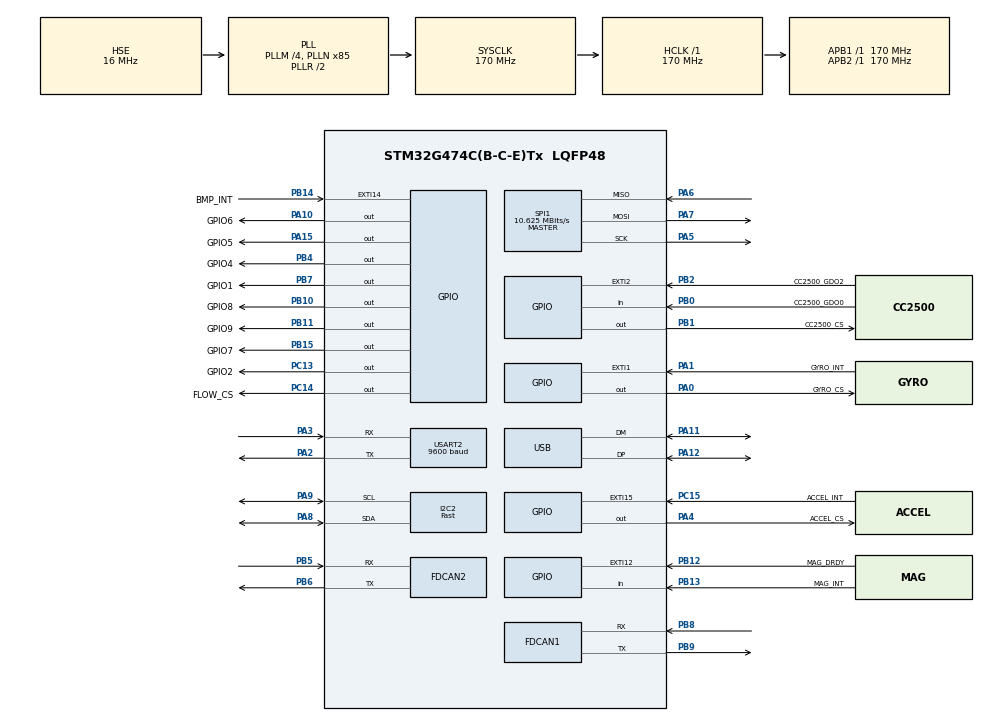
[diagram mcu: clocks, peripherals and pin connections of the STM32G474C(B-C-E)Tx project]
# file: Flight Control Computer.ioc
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Dma.Request0=USART2_RX
Dma.Request1=USART2_TX
Dma.USART2_RX.0.Direction=DMA_PERIPH_TO_MEMORY
Dma.USART2_RX.0.EventEnable=DISABLE
Dma.USART2_RX.0.Instance=DMA1_Channel1
Dma.USART2_RX.0.MemDataAlignment=DMA_MDATAALIGN_BYTE
Dma.USART2_RX.0.MemInc=DMA_MINC_ENABLE
Dma.USART2_RX.0.Mode=DMA_NORMAL
Dma.USART2_RX.0.PeriphDataAlignment=DMA_PDATAALIGN_BYTE
Dma.USART2_RX.0.PeriphInc=DMA_PINC_DISABLE
Dma.USART2_RX.0.Polarity=HAL_DMAMUX_REQ_GEN_RISING
Dma.USART2_RX.0.Priority=DMA_PRIORITY_LOW
Dma.USART2_RX.0.RequestNumber=1
Dma.USART2_RX.0.SignalID=NONE
Dma.USART2_RX.0.SyncEnable=DISABLE
Dma.USART2_RX.0.SyncPolarity=HAL_DMAMUX_SYNC_NO_EVENT
Dma.USART2_RX.0.SyncRequestNumber=1
Dma.USART2_RX.0.SyncSignalID=NONE
Dma.USART2_TX.1.Direction=DMA_MEMORY_TO_PERIPH
Dma.USART2_TX.1.EventEnable=DISABLE
Dma.USART2_TX.1.Instance=DMA1_Channel2
Dma.USART2_TX.1.MemDataAlignment=DMA_MDATAALIGN_BYTE
Dma.USART2_TX.1.MemInc=DMA_MINC_ENABLE
Dma.USART2_TX.1.Mode=DMA_NORMAL
Dma.USART2_TX.1.PeriphDataAlignment=DMA_PDATAALIGN_BYTE
Dma.USART2_TX.1.PeriphInc=DMA_PINC_DISABLE
Dma.USART2_TX.1.Polarity=HAL_DMAMUX_REQ_GEN_RISING
Dma.USART2_TX.1.Priority=DMA_PRIORITY_LOW
Dma.USART2_TX.1.RequestNumber=1
Dma.USART2_TX.1.SignalID=NONE
Dma.USART2_TX.1.SyncEnable=DISABLE
Dma.USART2_TX.1.SyncPolarity=HAL_DMAMUX_SYNC_NO_EVENT
Dma.USART2_TX.1.SyncRequestNumber=1
Dma.USART2_TX.1.SyncSignalID=NONE
FDCAN1.AutoRetransmission=ENABLE
FDCAN1.CalculateBaudRateNominal=999999
FDCAN1.CalculateTimeBitNominal=1000
FDCAN1.CalculateTimeQuantumNominal=58.82352941176471
FDCAN1.NominalPrescaler=10
FDCAN1.NominalTimeSeg1=13
FDCAN1.NominalTimeSeg2=3
FDCAN1.StdFiltersNbr=1
FDCAN1.TransmitPause=ENABLE
FDCAN2.AutoRetransmission=ENABLE
FDCAN2.CalculateBaudRateNominal=999999
FDCAN2.CalculateTimeBitNominal=1000
FDCAN2.CalculateTimeQuantumNominal=58.82352941176471
FDCAN2.NominalPrescaler=10
FDCAN2.NominalTimeSeg1=13
FDCAN2.NominalTimeSeg2=3
FDCAN2.StdFiltersNbr=1
FDCAN2.TransmitPause=ENABLE
FREERTOS.CountingSemaphores01=radioRxSemaphore,64,Static,radioRxSemaphoreControlBlock,0
FREERTOS.Mutexes01=spi1Mutex,Static,spi1MutexControlBlock,Depleted;usbMutex,Static,usbMutexControlBlock,Depleted;i2c2Mutex,Static,i2c2MutexControlBlock,Depleted;accelDataMutex,Static,accelDataMutexControlBlock,Depleted;gyroDataMutex,Static,gyroDataMutexControlBlock,Depleted;baroDataMutex,Static,baroDataMutexControlBlock,Depleted;magDataMutex,Static,magDataMutexControlBlock,Depleted;stateMutex,Static,stateMutexControlBlock,Depleted;uart2Mutex,Static,uart2MutexControlBlock,Depleted;ultrasonicDataMutex,Static,ultrasonicDataMutexControlBlock,Depleted;flowDataMutex,Static,flowDataMutexControlBlock,Depleted;stateTopicMutex,Static,stateTopicMutexControlBlock,Available
FREERTOS.Queues01=radioQueue,64,RadioInput,0,Static,radioQueueBuffer,radioQueueControlBlock
FREERTOS.Tasks01=sensorFusionTask,24,2048,start_sensor_fusion_task,Default,NULL,Static,sensorFusionTaskBuffer,sensorFusionTaskControlBlock;accIRQTask,40,256,start_acc_irq_task,Default,NULL,Static,accIRQTaskBuffer,accIRQTaskControlBlock;gyroIRQTask,40,256,start_gyro_irq_task,Default,NULL,Static,gyroIRQTaskBuffer,gyroIRQTaskControlBlock;baroIRQTask,40,256,start_baro_irq_task,Default,NULL,Static,baroIRQTaskBuffer,baroIRQTaskControlBlock;magIRQTask,40,256,start_mag_irq_task,Default,NULL,Static,magIRQTaskBuffer,magIRQTaskControlBlock;fusionLoggingTask,8,512,start_fusion_logging_task,Default,NULL,Static,fusionLoggingTaskBuffer,fusionLoggingTaskControlBlock;ultrasonicPollingTask,40,512,start_ultrasonic_polling_task,Default,NULL,Static,ultrasonicPollingTaskBuffer,ultrasonicPollingTaskControlBlock;opticalFlowPollingTask,40,256,start_optical_flow_polling_task,Default,NULL,Static,opticalFlowUpdateTaskBuffer,opticalFlowUpdateTaskControlBlock;radioTask,32,1024,start_radio_task,Default,NULL,Static,radioTaskBuffer,radioTaskControlBlock;controlSystemTask,24,2048,start_control_system_task,Default,NULL,Static,controlSystemTaskBuffer,controlSystemTaskControlBlock
FREERTOS.configENABLE_FPU=1
FREERTOS.configGENERATE_RUN_TIME_STATS=1
FREERTOS.configMAX_TASK_NAME_LEN=30
FREERTOS.configMINIMAL_STACK_SIZE=256
FREERTOS.configTOTAL_HEAP_SIZE=65536
FREERTOS.configUSE_NEWLIB_REENTRANT=1
FREERTOS.configUSE_STATS_FORMATTING_FUNCTIONS=1
I2C2.I2C_Speed_Mode=I2C_Fast
I2C2.Timing=0x40621236
Mcu.Family=STM32G4
Mcu.Name=STM32G474C(B-C-E)Tx
Mcu.Package=LQFP48
NVIC.DMA1_Channel1_IRQn=true\:5\:0\:false\:false\:true\:true\:false\:true\:true
NVIC.DMA1_Channel2_IRQn=true\:5\:0\:false\:false\:true\:true\:false\:true\:true
NVIC.EXTI15_10_IRQn=true\:5\:0\:false\:false\:true\:true\:true\:true\:true
NVIC.EXTI1_IRQn=true\:5\:0\:false\:false\:true\:true\:true\:true\:true
NVIC.EXTI2_IRQn=true\:5\:0\:false\:false\:true\:true\:true\:true\:true
NVIC.FDCAN1_IT0_IRQn=true\:5\:0\:false\:false\:true\:true\:true\:true\:true
NVIC.FDCAN2_IT0_IRQn=true\:5\:0\:false\:false\:true\:true\:true\:true\:true
NVIC.PriorityGroup=NVIC_PRIORITYGROUP_4
NVIC.TIM1_UP_TIM16_IRQn=true\:5\:0\:false\:false\:true\:true\:true\:true\:true
NVIC.TIM6_DAC_IRQn=true\:15\:0\:false\:false\:true\:false\:false\:true\:true
NVIC.TimeBase=TIM6_DAC_IRQn
NVIC.TimeBaseIP=TIM6
NVIC.USART2_IRQn=true\:5\:0\:false\:false\:true\:true\:true\:true\:true
NVIC.USB_LP_IRQn=true\:5\:0\:false\:false\:true\:true\:false\:true\:true
PA0.GPIO_Label=GYRO_CS
PA0.GPIO_PuPd=GPIO_PULLUP
PA0.PinState=GPIO_PIN_SET
PA0.Signal=GPIO_Output
PA1.GPIO_Label=GYRO_INT
PA1.GPIO_PuPd=GPIO_PULLDOWN
PA1.Signal=GPXTI1
PA10.GPIO_Label=GPIO6
PA10.Signal=GPIO_Output
PA11.Mode=Device
PA11.Signal=USB_DM
PA12.Mode=Device
PA12.Signal=USB_DP
PA13.Mode=Trace_Asynchronous_SW
PA13.Signal=SYS_JTMS-SWDIO
PA14.Mode=Trace_Asynchronous_SW
PA14.Signal=SYS_JTCK-SWCLK
PA15.GPIO_Label=GPIO5
PA15.PinState=GPIO_PIN_SET
PA15.Signal=GPIO_Output
PA2.Mode=Asynchronous
PA2.Signal=USART2_TX
PA3.Mode=Asynchronous
PA3.Signal=USART2_RX
PA4.GPIO_Label=ACCEL_CS
PA4.GPIO_PuPd=GPIO_PULLUP
PA4.PinState=GPIO_PIN_SET
PA4.Signal=GPIO_Output
PA5.Mode=Full_Duplex_Master
PA5.Signal=SPI1_SCK
PA6.Mode=Full_Duplex_Master
PA6.Signal=SPI1_MISO
PA7.Mode=Full_Duplex_Master
PA7.Signal=SPI1_MOSI
PA8.Mode=I2C
PA8.Signal=I2C2_SDA
PA9.Mode=I2C
PA9.Signal=I2C2_SCL
PB0.GPIO_Label=CC2500_GDO0
PB0.Signal=GPIO_Input
PB1.GPIO_Label=CC2500_CS
PB1.GPIO_PuPd=GPIO_PULLUP
PB1.PinState=GPIO_PIN_SET
PB1.Signal=GPIO_Output
PB10.GPIO_Label=GPIO8
PB10.Signal=GPIO_Output
PB11.GPIO_Label=GPIO9
PB11.Signal=GPIO_Output
PB12.GPIO_Label=MAG_DRDY
PB12.GPIO_PuPd=GPIO_PULLDOWN
PB12.Signal=GPXTI12
PB13.GPIO_Label=MAG_INT
PB13.Signal=GPIO_Input
PB14.GPIO_Label=BMP_INT
PB14.GPIO_PuPd=GPIO_PULLDOWN
PB14.Signal=GPXTI14
PB15.GPIO_Label=GPIO7
PB15.Signal=GPIO_Output
PB2.GPIO_Label=CC2500_GDO2
PB2.GPIO_ModeDefaultEXTI=GPIO_MODE_IT_FALLING
PB2.Signal=GPXTI2
PB3.Mode=Trace_Asynchronous_SW
PB3.Signal=SYS_JTDO-SWO
PB4.GPIO_Label=GPIO4
PB4.Signal=GPIO_Output
PB5.Mode=FDCAN_Activate
PB5.Signal=FDCAN2_RX
PB6.Mode=FDCAN_Activate
PB6.Signal=FDCAN2_TX
PB7.GPIO_Label=GPIO1
PB7.Signal=GPIO_Output
PB8-BOOT0.Mode=FDCAN_Activate
PB8-BOOT0.Signal=FDCAN1_RX
PB9.Mode=FDCAN_Activate
PB9.Signal=FDCAN1_TX
PC13.GPIO_Label=GPIO2
PC13.Signal=GPIO_Output
PC14-OSC32_IN.GPIO_Label=FLOW_CS
PC14-OSC32_IN.Signal=GPIO_Output
PC15-OSC32_OUT.GPIO_Label=ACCEL_INT
PC15-OSC32_OUT.GPIO_PuPd=GPIO_PULLDOWN
PC15-OSC32_OUT.Signal=GPXTI15
PF0-OSC_IN.Mode=HSE-External-Oscillator
PF0-OSC_IN.Signal=RCC_OSC_IN
PF1-OSC_OUT.Mode=HSE-External-Oscillator
PF1-OSC_OUT.Signal=RCC_OSC_OUT
ProjectManager.HeapSize=0x200
ProjectManager.StackSize=0x400
ProjectManager.TargetToolchain=STM32CubeIDE
RCC.ADC12Freq_Value=170000000
RCC.ADC345Freq_Value=170000000
RCC.AHBFreq_Value=170000000
RCC.APB1Freq_Value=170000000
RCC.APB1TimFreq_Value=170000000
RCC.APB2Freq_Value=170000000
RCC.APB2TimFreq_Value=170000000
RCC.CK48CLockSelection=RCC_USBCLKSOURCE_HSI48
RCC.CortexFreq_Value=170000000
RCC.EXTERNAL_CLOCK_VALUE=12288000
RCC.HCLKFreq_Value=170000000
RCC.HSE_VALUE=16000000
RCC.HSI48_VALUE=48000000
RCC.HSI_VALUE=16000000
RCC.LSE_VALUE=32768
RCC.PLLM=RCC_PLLM_DIV4
RCC.PLLN=85
RCC.PLLQ=RCC_PLLQ_DIV8
RCC.PLLSourceVirtual=RCC_PLLSOURCE_HSE
RCC.SYSCLKFreq_VALUE=170000000
RCC.SYSCLKSource=RCC_SYSCLKSOURCE_PLLCLK
RCC.USBFreq_Value=48000000
RCC.VCOOutputFreq_Value=340000000
SPI1.BaudRatePrescaler=SPI_BAUDRATEPRESCALER_16
SPI1.CalculateBaudRate=10.625 MBits/s
SPI1.DataSize=SPI_DATASIZE_8BIT
SPI1.Direction=SPI_DIRECTION_2LINES
SPI1.Mode=SPI_MODE_MASTER
SPI1.VirtualType=VM_MASTER
STMicroelectronics.X-CUBE-MEMS1.11.1.0.SensorsJjSTM32IiMotionFXIiLibraryJjCore=true
TIM16.PeriodNoDither=1700 - 1
USART2.BaudRate=9600
USART2.VirtualMode-Asynchronous=VM_ASYNC
USB_DEVICE.APP_TX_DATA_SIZE=2048
USB_DEVICE.CLASS_NAME_FS=CDC
USB_DEVICE.MANUFACTURER_STRING=Nikolai Philipenko
USB_DEVICE.PRODUCT_STRING_CDC_FS=NP1 Flight Control Computer
USB_DEVICE.VirtualMode=Cdc
USB_DEVICE.VirtualModeFS=Cdc_FS
VP_CRC_VS_CRC.Mode=CRC_Activate
VP_FREERTOS_VS_CMSIS_V2.Mode=CMSIS_V2
VP_STMicroelectronics.X-CUBE-MEMS1_VS_SensorsJjSTM32IiMotionFXIiLibrary_2.9.0_11.1.0.Mode=SensorsJjSTM32IiMotionFXIiLibrary
VP_SYS_VS_DBSignals.Mode=DisableDeadBatterySignals
VP_SYS_VS_tim6.Mode=TIM6
VP_TIM16_VS_ClockSourceINT.Mode=Enable_Timer
VP_USB_DEVICE_VS_USB_DEVICE_CDC_FS.Mode=CDC_FS
board=custom

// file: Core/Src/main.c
/* USER CODE BEGIN Header */
/**
  ******************************************************************************
  * @file           : main.c
  * @brief          : Main program body
  ******************************************************************************
  * @attention
  *
  * Copyright (c) 2024 STMicroelectronics.
  * All rights reserved.
  *
  * This software is licensed under terms that can be found in the LICENSE file
  * in the root directory of this software component.
  * If no LICENSE file comes with this software, it is provided AS-IS.
  *
  ******************************************************************************
  */
/* USER CODE END Header */
#include "main.h"
#include "cmsis_os.h"
#include "crc.h"
#include "dma.h"
#include "fdcan.h"
#include "i2c.h"
#include "spi.h"
#include "tim.h"
#include "usart.h"
#include "usb_device.h"
#include "gpio.h"

/* USER CODE BEGIN PV */
volatile unsigned long ulHighFrequencyTimerCounts;
const int THREAD_START_DELAY_MS = 650;
/* USER CODE END PV */

void SystemClock_Config(void);
void MX_FREERTOS_Init(void);

int main(void)
{

  /* MCU Configuration--------------------------------------------------------*/

  /* Reset of all peripherals, Initializes the Flash interface and the Systick. */
  HAL_Init();

  /* Configure the system clock */
  SystemClock_Config();

  /* Initialize all configured peripherals */
  MX_GPIO_Init();
  MX_DMA_Init();
  MX_FDCAN1_Init();
  MX_FDCAN2_Init();
  MX_I2C2_Init();
  MX_SPI1_Init();
  MX_USART2_UART_Init();
  MX_TIM16_Init();
  MX_CRC_Init();
  /* USER CODE BEGIN 2 */
  MX_USB_Device_Init();

  /* USER CODE END 2 */

  /* Init scheduler */
  osKernelInitialize();

  /* Call init function for freertos objects (in cmsis_os2.c) */
  MX_FREERTOS_Init();

  /* Start scheduler */
  osKernelStart();

  /* We should never get here as control is now taken by the scheduler */

  /* Infinite loop */
  while (1)
  {

  }
}

void SystemClock_Config(void)
{
  RCC_OscInitTypeDef RCC_OscInitStruct = {0};
  RCC_ClkInitTypeDef RCC_ClkInitStruct = {0};

  /** Configure the main internal regulator output voltage
  */
  HAL_PWREx_ControlVoltageScaling(PWR_REGULATOR_VOLTAGE_SCALE1_BOOST);

  /** Initializes the RCC Oscillators according to the specified parameters
  * in the RCC_OscInitTypeDef structure.
  */
  RCC_OscInitStruct.OscillatorType = RCC_OSCILLATORTYPE_HSI48|RCC_OSCILLATORTYPE_HSE;
  RCC_OscInitStruct.HSEState = RCC_HSE_ON;
  RCC_OscInitStruct.HSI48State = RCC_HSI48_ON;
  RCC_OscInitStruct.PLL.PLLState = RCC_PLL_ON;
  RCC_OscInitStruct.PLL.PLLSource = RCC_PLLSOURCE_HSE;
  RCC_OscInitStruct.PLL.PLLM = RCC_PLLM_DIV4;
  RCC_OscInitStruct.PLL.PLLN = 85;
  RCC_OscInitStruct.PLL.PLLP = RCC_PLLP_DIV2;
  RCC_OscInitStruct.PLL.PLLQ = RCC_PLLQ_DIV8;
  RCC_OscInitStruct.PLL.PLLR = RCC_PLLR_DIV2;
  if (HAL_RCC_OscConfig(&RCC_OscInitStruct) != HAL_OK)
  {
    Error_Handler();
  }

  /** Initializes the CPU, AHB and APB buses clocks
  */
  RCC_ClkInitStruct.ClockType = RCC_CLOCKTYPE_HCLK|RCC_CLOCKTYPE_SYSCLK
                              |RCC_CLOCKTYPE_PCLK1|RCC_CLOCKTYPE_PCLK2;
  RCC_ClkInitStruct.SYSCLKSource = RCC_SYSCLKSOURCE_PLLCLK;
  RCC_ClkInitStruct.AHBCLKDivider = RCC_SYSCLK_DIV1;
  RCC_ClkInitStruct.APB1CLKDivider = RCC_HCLK_DIV1;
  RCC_ClkInitStruct.APB2CLKDivider = RCC_HCLK_DIV1;

  if (HAL_RCC_ClockConfig(&RCC_ClkInitStruct, FLASH_LATENCY_4) != HAL_OK)
  {
    Error_Handler();
  }
}

/* USER CODE BEGIN 4 */

void configureTimerForRunTimeStats(void)
{
    ulHighFrequencyTimerCounts = 0;
    HAL_TIM_Base_Start_IT(&htim16);
}

unsigned long getRunTimeCounterValue(void)
{
	return ulHighFrequencyTimerCounts;
}

/* USER CODE END 4 */

void HAL_TIM_PeriodElapsedCallback(TIM_HandleTypeDef *htim)
{
  if (htim->Instance == TIM6) {
    HAL_IncTick();
  }
}

void Error_Handler(void)
{
  __disable_irq();
  while (1)
  {
  }
}

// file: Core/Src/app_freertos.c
/* USER CODE BEGIN Header */
/**
  ******************************************************************************
  * File Name          : app_freertos.c
  * Description        : Code for freertos applications
  ******************************************************************************
  * @attention
  *
  * Copyright (c) 2024 STMicroelectronics.
  * All rights reserved.
  *
  * This software is licensed under terms that can be found in the LICENSE file
  * in the root directory of this software component.
  * If no LICENSE file comes with this software, it is provided AS-IS.
  *
  ******************************************************************************
  */
/* USER CODE END Header */

#include "FreeRTOS.h"
#include "task.h"
#include "main.h"
#include "cmsis_os.h"

/* USER CODE BEGIN Includes */

#include "Threads/sensor_fusion_thread.hpp"
#include "Threads/radio_thread.hpp"
#include "Threads/control_system_thread.hpp"

/* USER CODE END Includes */

typedef StaticTask_t osStaticThreadDef_t;
typedef StaticQueue_t osStaticMessageQDef_t;
typedef StaticSemaphore_t osStaticMutexDef_t;
typedef StaticSemaphore_t osStaticSemaphoreDef_t;

/* Definitions for sensorFusionTask */
osThreadId_t sensorFusionTaskHandle;
uint32_t sensorFusionTaskBuffer[ 2048 ];
osStaticThreadDef_t sensorFusionTaskControlBlock;
const osThreadAttr_t sensorFusionTask_attributes = {
  .name = "sensorFusionTask",
  .stack_mem = &sensorFusionTaskBuffer[0],
  .stack_size = sizeof(sensorFusionTaskBuffer),
  .cb_mem = &sensorFusionTaskControlBlock,
  .cb_size = sizeof(sensorFusionTaskControlBlock),
  .priority = (osPriority_t) osPriorityNormal,
};
/* Definitions for accIRQTask */
osThreadId_t accIRQTaskHandle;
uint32_t accIRQTaskBuffer[ 256 ];
osStaticThreadDef_t accIRQTaskControlBlock;
const osThreadAttr_t accIRQTask_attributes = {
  .name = "accIRQTask",
  .stack_mem = &accIRQTaskBuffer[0],
  .stack_size = sizeof(accIRQTaskBuffer),
  .cb_mem = &accIRQTaskControlBlock,
  .cb_size = sizeof(accIRQTaskControlBlock),
  .priority = (osPriority_t) osPriorityHigh,
};
/* Definitions for gyroIRQTask */
osThreadId_t gyroIRQTaskHandle;
uint32_t gyroIRQTaskBuffer[ 256 ];
osStaticThreadDef_t gyroIRQTaskControlBlock;
const osThreadAttr_t gyroIRQTask_attributes = {
  .name = "gyroIRQTask",
  .stack_mem = &gyroIRQTaskBuffer[0],
  .stack_size = sizeof(gyroIRQTaskBuffer),
  .cb_mem = &gyroIRQTaskControlBlock,
  .cb_size = sizeof(gyroIRQTaskControlBlock),
  .priority = (osPriority_t) osPriorityHigh,
};
/* Definitions for baroIRQTask */
osThreadId_t baroIRQTaskHandle;
uint32_t baroIRQTaskBuffer[ 256 ];
osStaticThreadDef_t baroIRQTaskControlBlock;
const osThreadAttr_t baroIRQTask_attributes = {
  .name = "baroIRQTask",
  .stack_mem = &baroIRQTaskBuffer[0],
  .stack_size = sizeof(baroIRQTaskBuffer),
  .cb_mem = &baroIRQTaskControlBlock,
  .cb_size = sizeof(baroIRQTaskControlBlock),
  .priority = (osPriority_t) osPriorityHigh,
};
/* Definitions for magIRQTask */
osThreadId_t magIRQTaskHandle;
uint32_t magIRQTaskBuffer[ 256 ];
osStaticThreadDef_t magIRQTaskControlBlock;
const osThreadAttr_t magIRQTask_attributes = {
  .name = "magIRQTask",
  .stack_mem = &magIRQTaskBuffer[0],
  .stack_size = sizeof(magIRQTaskBuffer),
  .cb_mem = &magIRQTaskControlBlock,
  .cb_size = sizeof(magIRQTaskControlBlock),
  .priority = (osPriority_t) osPriorityHigh,
};
/* Definitions for fusionLoggingTask */
osThreadId_t fusionLoggingTaskHandle;
uint32_t fusionLoggingTaskBuffer[ 512 ];
osStaticThreadDef_t fusionLoggingTaskControlBlock;
const osThreadAttr_t fusionLoggingTask_attributes = {
  .name = "fusionLoggingTask",
  .stack_mem = &fusionLoggingTaskBuffer[0],
  .stack_size = sizeof(fusionLoggingTaskBuffer),
  .cb_mem = &fusionLoggingTaskControlBlock,
  .cb_size = sizeof(fusionLoggingTaskControlBlock),
  .priority = (osPriority_t) osPriorityLow,
};
/* Definitions for ultrasonicPollingTask */
osThreadId_t ultrasonicPollingTaskHandle;
uint32_t ultrasonicPollingTaskBuffer[ 512 ];
osStaticThreadDef_t ultrasonicPollingTaskControlBlock;
const osThreadAttr_t ultrasonicPollingTask_attributes = {
  .name = "ultrasonicPollingTask",
  .stack_mem = &ultrasonicPollingTaskBuffer[0],
  .stack_size = sizeof(ultrasonicPollingTaskBuffer),
  .cb_mem = &ultrasonicPollingTaskControlBlock,
  .cb_size = sizeof(ultrasonicPollingTaskControlBlock),
  .priority = (osPriority_t) osPriorityHigh,
};
/* Definitions for opticalFlowPollingTask */
osThreadId_t opticalFlowPollingTaskHandle;
uint32_t opticalFlowUpdateTaskBuffer[ 256 ];
osStaticThreadDef_t opticalFlowUpdateTaskControlBlock;
const osThreadAttr_t opticalFlowPollingTask_attributes = {
  .name = "opticalFlowPollingTask",
  .stack_mem = &opticalFlowUpdateTaskBuffer[0],
  .stack_size = sizeof(opticalFlowUpdateTaskBuffer),
  .cb_mem = &opticalFlowUpdateTaskControlBlock,
  .cb_size = sizeof(opticalFlowUpdateTaskControlBlock),
  .priority = (osPriority_t) osPriorityHigh,
};
/* Definitions for radioTask */
osThreadId_t radioTaskHandle;
uint32_t radioTaskBuffer[ 1024 ];
osStaticThreadDef_t radioTaskControlBlock;
const osThreadAttr_t radioTask_attributes = {
  .name = "radioTask",
  .stack_mem = &radioTaskBuffer[0],
  .stack_size = sizeof(radioTaskBuffer),
  .cb_mem = &radioTaskControlBlock,
  .cb_size = sizeof(radioTaskControlBlock),
  .priority = (osPriority_t) osPriorityAboveNormal,
};
/* Definitions for controlSystemTask */
osThreadId_t controlSystemTaskHandle;
uint32_t controlSystemTaskBuffer[ 2048 ];
osStaticThreadDef_t controlSystemTaskControlBlock;
const osThreadAttr_t controlSystemTask_attributes = {
  .name = "controlSystemTask",
  .stack_mem = &controlSystemTaskBuffer[0],
  .stack_size = sizeof(controlSystemTaskBuffer),
  .cb_mem = &controlSystemTaskControlBlock,
  .cb_size = sizeof(controlSystemTaskControlBlock),
  .priority = (osPriority_t) osPriorityNormal,
};
/* Definitions for radioQueue */
osMessageQueueId_t radioQueueHandle;
uint8_t radioQueueBuffer[ 64 * sizeof( RadioInput ) ];
osStaticMessageQDef_t radioQueueControlBlock;
const osMessageQueueAttr_t radioQueue_attributes = {
  .name = "radioQueue",
  .cb_mem = &radioQueueControlBlock,
  .cb_size = sizeof(radioQueueControlBlock),
  .mq_mem = &radioQueueBuffer,
  .mq_size = sizeof(radioQueueBuffer)
};
/* Definitions for spi1Mutex */
osMutexId_t spi1MutexHandle;
osStaticMutexDef_t spi1MutexControlBlock;
const osMutexAttr_t spi1Mutex_attributes = {
  .name = "spi1Mutex",
  .cb_mem = &spi1MutexControlBlock,
  .cb_size = sizeof(spi1MutexControlBlock),
};
/* Definitions for usbMutex */
osMutexId_t usbMutexHandle;
osStaticMutexDef_t usbMutexControlBlock;
const osMutexAttr_t usbMutex_attributes = {
  .name = "usbMutex",
  .cb_mem = &usbMutexControlBlock,
  .cb_size = sizeof(usbMutexControlBlock),
};
/* Definitions for i2c2Mutex */
osMutexId_t i2c2MutexHandle;
osStaticMutexDef_t i2c2MutexControlBlock;
const osMutexAttr_t i2c2Mutex_attributes = {
  .name = "i2c2Mutex",
  .cb_mem = &i2c2MutexControlBlock,
  .cb_size = sizeof(i2c2MutexControlBlock),
};
/* Definitions for accelDataMutex */
osMutexId_t accelDataMutexHandle;
osStaticMutexDef_t accelDataMutexControlBlock;
const osMutexAttr_t accelDataMutex_attributes = {
  .name = "accelDataMutex",
  .cb_mem = &accelDataMutexControlBlock,
  .cb_size = sizeof(accelDataMutexControlBlock),
};
/* Definitions for gyroDataMutex */
osMutexId_t gyroDataMutexHandle;
osStaticMutexDef_t gyroDataMutexControlBlock;
const osMutexAttr_t gyroDataMutex_attributes = {
  .name = "gyroDataMutex",
  .cb_mem = &gyroDataMutexControlBlock,
  .cb_size = sizeof(gyroDataMutexControlBlock),
};
/* Definitions for baroDataMutex */
osMutexId_t baroDataMutexHandle;
osStaticMutexDef_t baroDataMutexControlBlock;
const osMutexAttr_t baroDataMutex_attributes = {
  .name = "baroDataMutex",
  .cb_mem = &baroDataMutexControlBlock,
  .cb_size = sizeof(baroDataMutexControlBlock),
};
/* Definitions for magDataMutex */
osMutexId_t magDataMutexHandle;
osStaticMutexDef_t magDataMutexControlBlock;
const osMutexAttr_t magDataMutex_attributes = {
  .name = "magDataMutex",
  .cb_mem = &magDataMutexControlBlock,
  .cb_size = sizeof(magDataMutexControlBlock),
};
/* Definitions for stateMutex */
osMutexId_t stateMutexHandle;
osStaticMutexDef_t stateMutexControlBlock;
const osMutexAttr_t stateMutex_attributes = {
  .name = "stateMutex",
  .cb_mem = &stateMutexControlBlock,
  .cb_size = sizeof(stateMutexControlBlock),
};
/* Definitions for uart2Mutex */
osMutexId_t uart2MutexHandle;
osStaticMutexDef_t uart2MutexControlBlock;
const osMutexAttr_t uart2Mutex_attributes = {
  .name = "uart2Mutex",
  .cb_mem = &uart2MutexControlBlock,
  .cb_size = sizeof(uart2MutexControlBlock),
};
/* Definitions for ultrasonicDataMutex */
osMutexId_t ultrasonicDataMutexHandle;
osStaticMutexDef_t ultrasonicDataMutexControlBlock;
const osMutexAttr_t ultrasonicDataMutex_attributes = {
  .name = "ultrasonicDataMutex",
  .cb_mem = &ultrasonicDataMutexControlBlock,
  .cb_size = sizeof(ultrasonicDataMutexControlBlock),
};
/* Definitions for flowDataMutex */
osMutexId_t flowDataMutexHandle;
osStaticMutexDef_t flowDataMutexControlBlock;
const osMutexAttr_t flowDataMutex_attributes = {
  .name = "flowDataMutex",
  .cb_mem = &flowDataMutexControlBlock,
  .cb_size = sizeof(flowDataMutexControlBlock),
};
/* Definitions for stateTopicMutex */
osMutexId_t stateTopicMutexHandle;
osStaticMutexDef_t stateTopicMutexControlBlock;
const osMutexAttr_t stateTopicMutex_attributes = {
  .name = "stateTopicMutex",
  .cb_mem = &stateTopicMutexControlBlock,
  .cb_size = sizeof(stateTopicMutexControlBlock),
};
/* Definitions for radioRxSemaphore */
osSemaphoreId_t radioRxSemaphoreHandle;
osStaticSemaphoreDef_t radioRxSemaphoreControlBlock;
const osSemaphoreAttr_t radioRxSemaphore_attributes = {
  .name = "radioRxSemaphore",
  .cb_mem = &radioRxSemaphoreControlBlock,
  .cb_size = sizeof(radioRxSemaphoreControlBlock),
};

void start_sensor_fusion_task(void *argument);
void start_acc_irq_task(void *argument);
void start_gyro_irq_task(void *argument);
void start_baro_irq_task(void *argument);
void start_mag_irq_task(void *argument);
void start_fusion_logging_task(void *argument);
void start_ultrasonic_polling_task(void *argument);
void start_optical_flow_polling_task(void *argument);
void start_radio_task(void *argument);
void start_control_system_task(void *argument);

void MX_FREERTOS_Init(void); /* (MISRA C 2004 rule 8.1) */

/* Hook prototypes */
void configureTimerForRunTimeStats(void);
unsigned long getRunTimeCounterValue(void);

/* USER CODE BEGIN 1 */
/* Functions needed when configGENERATE_RUN_TIME_STATS is on */
__weak void configureTimerForRunTimeStats(void) { }
__weak unsigned long getRunTimeCounterValue(void) { return 0; }
/* USER CODE END 1 */

void MX_FREERTOS_Init(void) {
  /* Create the mutex(es) */
  /* creation of spi1Mutex */
  spi1MutexHandle = osMutexNew(&spi1Mutex_attributes);

  /* creation of usbMutex */
  usbMutexHandle = osMutexNew(&usbMutex_attributes);

  /* creation of i2c2Mutex */
  i2c2MutexHandle = osMutexNew(&i2c2Mutex_attributes);

  /* creation of accelDataMutex */
  accelDataMutexHandle = osMutexNew(&accelDataMutex_attributes);

  /* creation of gyroDataMutex */
  gyroDataMutexHandle = osMutexNew(&gyroDataMutex_attributes);

  /* creation of baroDataMutex */
  baroDataMutexHandle = osMutexNew(&baroDataMutex_attributes);

  /* creation of magDataMutex */
  magDataMutexHandle = osMutexNew(&magDataMutex_attributes);

  /* creation of stateMutex */
  stateMutexHandle = osMutexNew(&stateMutex_attributes);

  /* creation of uart2Mutex */
  uart2MutexHandle = osMutexNew(&uart2Mutex_attributes);

  /* creation of ultrasonicDataMutex */
  ultrasonicDataMutexHandle = osMutexNew(&ultrasonicDataMutex_attributes);

  /* creation of flowDataMutex */
  flowDataMutexHandle = osMutexNew(&flowDataMutex_attributes);

  /* creation of stateTopicMutex */
  stateTopicMutexHandle = osMutexNew(&stateTopicMutex_attributes);

  /* Create the semaphores(s) */
  /* creation of radioRxSemaphore */
  radioRxSemaphoreHandle = osSemaphoreNew(64, 0, &radioRxSemaphore_attributes);

  /* Create the queue(s) */
  /* creation of radioQueue */
  radioQueueHandle = osMessageQueueNew (64, sizeof(RadioInput), &radioQueue_attributes);

  /* Create the thread(s) */
  /* creation of sensorFusionTask */
  sensorFusionTaskHandle = osThreadNew(start_sensor_fusion_task, NULL, &sensorFusionTask_attributes);

  /* creation of accIRQTask */
  accIRQTaskHandle = osThreadNew(start_acc_irq_task, NULL, &accIRQTask_attributes);

  /* creation of gyroIRQTask */
  gyroIRQTaskHandle = osThreadNew(start_gyro_irq_task, NULL, &gyroIRQTask_attributes);

  /* creation of baroIRQTask */
  baroIRQTaskHandle = osThreadNew(start_baro_irq_task, NULL, &baroIRQTask_attributes);

  /* creation of magIRQTask */
  magIRQTaskHandle = osThreadNew(start_mag_irq_task, NULL, &magIRQTask_attributes);

  /* creation of fusionLoggingTask */
  fusionLoggingTaskHandle = osThreadNew(start_fusion_logging_task, NULL, &fusionLoggingTask_attributes);

  /* creation of ultrasonicPollingTask */
  ultrasonicPollingTaskHandle = osThreadNew(start_ultrasonic_polling_task, NULL, &ultrasonicPollingTask_attributes);

  /* creation of opticalFlowPollingTask */
  opticalFlowPollingTaskHandle = osThreadNew(start_optical_flow_polling_task, NULL, &opticalFlowPollingTask_attributes);

  /* creation of radioTask */
  radioTaskHandle = osThreadNew(start_radio_task, NULL, &radioTask_attributes);

  /* creation of controlSystemTask */
  controlSystemTaskHandle = osThreadNew(start_control_system_task, NULL, &controlSystemTask_attributes);

}

void start_sensor_fusion_task(void *argument)
{
  /* USER CODE BEGIN start_sensor_fusion_task */
  /* Infinite loop */
  sensor_fusion_thread();
  /* USER CODE END start_sensor_fusion_task */
}

/* USER CODE BEGIN Header_start_acc_irq_task */
/**
* @brief Deferred interrupt handling for BMI088 accelerometer.
* @param argument: Not used
* @retval None
*/
/* USER CODE END Header_start_acc_irq_task */
void start_acc_irq_task(void *argument)
{
  /* USER CODE BEGIN start_acc_irq_task */
	/* Infinite loop */
	for(;;)
	{
		osThreadFlagsWait(0x00000001U, osFlagsWaitAll, osWaitForever);
		service_BMI088_Accel();
	}
  /* USER CODE END start_acc_irq_task */
}

/* USER CODE BEGIN Header_start_gyro_irq_task */
/**
* @brief Deferred interrupt handling for BMI088 gyroscope.
* @param argument: Not used
* @retval None
*/
/* USER CODE END Header_start_gyro_irq_task */
void start_gyro_irq_task(void *argument)
{
  /* USER CODE BEGIN start_gyro_irq_task */
	/* Infinite loop */
	for(;;)
	{
		osThreadFlagsWait(0x00000001U, osFlagsWaitAll, osWaitForever);
		service_BMI088_Gyro();
	}
  /* USER CODE END start_gyro_irq_task */
}

void start_baro_irq_task(void *argument)
{
  /* USER CODE BEGIN start_baro_irq_task */
  /* Infinite loop */
	for(;;)
	{
		osThreadFlagsWait(0x00000001U, osFlagsWaitAll, osWaitForever);
		service_BMP388();
	}
  /* USER CODE END start_baro_irq_task */
}

void start_mag_irq_task(void *argument)
{
  /* USER CODE BEGIN start_mag_irq_task */
	/* Infinite loop */
	for(;;)
	{
		osThreadFlagsWait(0x00000001U, osFlagsWaitAll, osWaitForever);
		service_LIS3MDL();
	}
  /* USER CODE END start_mag_irq_task */
}

void start_fusion_logging_task(void *argument)
{
  /* USER CODE BEGIN start_fusion_logging_task */
  /* Infinite loop */
  fusion_logging_thread();
  /* USER CODE END start_fusion_logging_task */
}

void start_ultrasonic_polling_task(void *argument)
{
  /* USER CODE BEGIN start_ultrasonic_polling_task */
	/* Infinite loop */

	const uint32_t polling_period_ms = 100;		// update distance at 10 Hz
	uint32_t wakeup_time = osKernelGetTickCount();

	for(;;)
	{
		poll_US100_Ultrasonic( 1 );
		osThreadFlagsWait(0x00000001U, osFlagsWaitAll, osWaitForever);
		poll_US100_Ultrasonic( 0 );

		wakeup_time += polling_period_ms;
		osDelayUntil(wakeup_time);
	}
  /* USER CODE END start_ultrasonic_polling_task */
}

void start_optical_flow_polling_task(void *argument)
{
  /* USER CODE BEGIN start_optical_flow_polling_task */
	/* Infinite loop */

	const uint32_t polling_period_ms = 10;		// update flow rate at 100 Hz
	uint32_t wakeup_time = osKernelGetTickCount();

	for(;;)
	{
		poll_PMW3901(polling_period_ms / 1000.0f);

		wakeup_time += polling_period_ms;
		osDelayUntil(wakeup_time);
	}
  /* USER CODE END start_optical_flow_polling_task */
}

void start_radio_task(void *argument)
{
  /* USER CODE BEGIN start_radio_task */
  /* Infinite loop */
  radio_thread();
  /* USER CODE END start_radio_task */
}

void start_control_system_task(void *argument)
{
  /* USER CODE BEGIN start_control_system_task */
  /* Infinite loop */
	control_system_thread();
  /* USER CODE END start_control_system_task */
}

/* USER CODE BEGIN Application */

void HAL_GPIO_EXTI_Callback(uint16_t GPIO_Pin)
{
	if (GPIO_Pin == ACCEL_INT_Pin)
	{
		osThreadFlagsSet(accIRQTaskHandle, 0x00000001U);
	}
	else if (GPIO_Pin == GYRO_INT_Pin)
	{
		osThreadFlagsSet(gyroIRQTaskHandle, 0x00000001U);
	}
	else if (GPIO_Pin == BMP_INT_Pin)
	{
		osThreadFlagsSet(baroIRQTaskHandle, 0x00000001U);
	}
	else if (GPIO_Pin == MAG_DRDY_Pin)
	{
		osThreadFlagsSet(magIRQTaskHandle, 0x00000001U);
	}
	else if (GPIO_Pin == CC2500_GDO2_Pin)
	{
		osSemaphoreRelease(radioRxSemaphoreHandle);
	}
}

void HAL_UART_RxCpltCallback(UART_HandleTypeDef *huart)
{
	osThreadFlagsSet(ultrasonicPollingTaskHandle, 0x00000001U);
}

/* USER CODE END Application */
